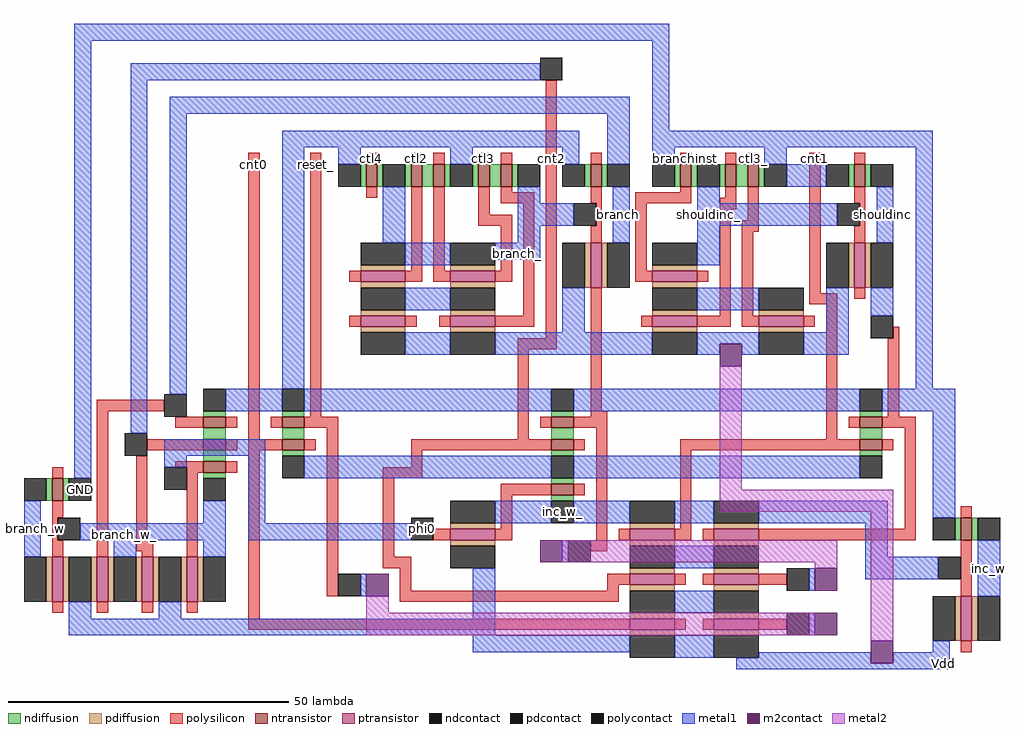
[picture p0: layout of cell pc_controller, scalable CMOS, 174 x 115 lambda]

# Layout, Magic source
magic
tech scmos
<< polysilicon >>
rect -60 -86 -48 -84
rect -68 -98 -66 -96
rect -68 -105 -66 -102
rect -68 -109 -67 -105
rect -68 -112 -66 -109
rect -60 -112 -58 -86
rect -46 -89 -41 -87
rect -37 -89 -35 -87
rect -33 -91 -31 -40
rect -22 -87 -20 -40
rect -12 -42 -10 -40
rect -4 -42 -2 -40
rect 0 -42 2 -40
rect 8 -42 10 -40
rect 12 -42 14 -40
rect -12 -48 -10 -46
rect -4 -61 -2 -46
rect -15 -63 -13 -61
rect -5 -63 -2 -61
rect 0 -61 2 -46
rect 8 -51 10 -46
rect 12 -47 14 -46
rect 12 -49 18 -47
rect 8 -53 14 -51
rect 12 -61 14 -53
rect 0 -63 3 -61
rect 11 -63 14 -61
rect 16 -69 18 -49
rect -15 -71 -13 -69
rect -5 -71 -3 -69
rect 1 -71 3 -69
rect 11 -71 18 -69
rect 20 -73 22 -27
rect 28 -42 30 -40
rect 44 -42 46 -40
rect 52 -42 54 -40
rect 56 -42 58 -40
rect 28 -49 30 -46
rect 44 -47 46 -46
rect 29 -53 30 -49
rect 28 -56 30 -53
rect 36 -49 46 -47
rect 52 -48 54 -46
rect 36 -61 38 -49
rect 51 -50 54 -48
rect 36 -63 39 -61
rect 47 -63 49 -61
rect 15 -75 22 -73
rect -29 -89 -27 -87
rect -23 -89 -17 -87
rect -51 -93 -41 -91
rect -37 -93 -35 -91
rect -33 -93 -27 -91
rect -23 -93 -21 -91
rect -53 -109 -51 -94
rect -46 -96 -41 -95
rect -44 -97 -41 -96
rect -37 -97 -35 -95
rect -53 -111 -50 -109
rect -52 -112 -50 -111
rect -44 -112 -42 -97
rect -68 -122 -66 -120
rect -60 -122 -58 -120
rect -52 -122 -50 -120
rect -44 -122 -42 -120
rect -33 -123 -31 -93
rect -19 -119 -17 -89
rect 15 -91 17 -75
rect 28 -86 30 -64
rect 51 -69 53 -50
rect 56 -52 58 -46
rect 37 -71 39 -69
rect 47 -71 53 -69
rect 55 -54 58 -52
rect 55 -69 57 -54
rect 67 -65 69 -40
rect 75 -42 77 -40
rect 75 -49 77 -46
rect 76 -53 77 -49
rect 75 -56 77 -53
rect 67 -67 72 -65
rect 75 -66 77 -64
rect 55 -71 58 -69
rect 66 -71 68 -69
rect 28 -87 31 -86
rect 19 -89 21 -87
rect 25 -89 31 -87
rect -4 -93 21 -91
rect 25 -93 27 -91
rect -4 -96 -2 -93
rect -9 -98 -2 -96
rect -9 -112 -7 -98
rect 12 -101 21 -99
rect 25 -101 27 -99
rect 12 -107 14 -101
rect 0 -109 3 -107
rect 11 -109 14 -107
rect 29 -109 31 -89
rect 70 -91 72 -67
rect 82 -73 83 -71
rect 81 -87 83 -73
rect 74 -89 76 -87
rect 80 -89 86 -87
rect 44 -93 76 -91
rect 80 -93 82 -91
rect 44 -107 46 -93
rect 84 -107 86 -89
rect 33 -109 35 -107
rect 43 -109 46 -107
rect 48 -109 50 -107
rect 58 -109 86 -107
rect -9 -114 -4 -112
rect 28 -111 31 -109
rect -6 -118 -4 -114
rect 31 -117 35 -115
rect 43 -117 45 -115
rect 48 -117 50 -115
rect 58 -117 63 -115
rect 31 -118 33 -117
rect -6 -120 33 -118
rect -33 -125 35 -123
rect 43 -125 45 -123
rect 48 -125 50 -123
rect 58 -125 63 -123
<< ndiffusion >>
rect -69 -102 -68 -98
rect -66 -102 -65 -98
rect -41 -87 -37 -86
rect -41 -91 -37 -89
rect -27 -87 -23 -86
rect -13 -46 -12 -42
rect -10 -46 -9 -42
rect -5 -46 -4 -42
rect -2 -46 0 -42
rect 2 -46 3 -42
rect 7 -46 8 -42
rect 10 -46 12 -42
rect 14 -46 15 -42
rect 27 -46 28 -42
rect 30 -46 31 -42
rect 43 -46 44 -42
rect 46 -46 47 -42
rect 51 -46 52 -42
rect 54 -46 56 -42
rect 58 -46 59 -42
rect -27 -91 -23 -89
rect -41 -95 -37 -93
rect -41 -98 -37 -97
rect -27 -94 -23 -93
rect 21 -87 25 -86
rect 74 -46 75 -42
rect 77 -46 78 -42
rect 21 -91 25 -89
rect 21 -94 25 -93
rect 21 -99 25 -98
rect 21 -102 25 -101
rect 76 -87 80 -86
rect 76 -91 80 -89
rect 76 -94 80 -93
<< pdiffusion >>
rect -13 -61 -5 -60
rect 3 -61 11 -60
rect -13 -64 -5 -63
rect -13 -69 -5 -68
rect 3 -64 11 -63
rect 3 -69 11 -68
rect -13 -72 -5 -71
rect 3 -72 11 -71
rect 27 -64 28 -56
rect 30 -64 31 -56
rect 39 -61 47 -60
rect 39 -64 47 -63
rect -69 -120 -68 -112
rect -66 -120 -65 -112
rect -61 -120 -60 -112
rect -58 -120 -57 -112
rect -53 -120 -52 -112
rect -50 -120 -49 -112
rect -45 -120 -44 -112
rect -42 -120 -41 -112
rect 39 -69 47 -68
rect 74 -64 75 -56
rect 77 -64 78 -56
rect 58 -69 66 -68
rect 39 -72 47 -71
rect 58 -72 66 -71
rect 3 -107 11 -106
rect 35 -107 43 -106
rect 50 -107 58 -106
rect 3 -110 11 -109
rect 35 -110 43 -109
rect 35 -115 43 -114
rect 50 -110 58 -109
rect 50 -115 58 -114
rect 35 -118 43 -117
rect 35 -123 43 -122
rect 50 -118 58 -117
rect 50 -123 58 -122
rect 35 -126 43 -125
rect 50 -126 58 -125
<< metal1 >>
rect -64 -20 42 -17
rect -64 -98 -61 -20
rect -54 -27 19 -24
rect -54 -90 -51 -27
rect -47 -33 35 -30
rect -47 -83 -44 -33
rect -27 -39 26 -36
rect -27 -82 -23 -39
rect -17 -42 -13 -39
rect 3 -42 7 -39
rect 23 -42 26 -39
rect 31 -42 35 -33
rect 39 -36 42 -20
rect 39 -39 89 -36
rect 39 -42 43 -39
rect 59 -42 63 -39
rect 63 -46 70 -42
rect -9 -56 -5 -46
rect 15 -49 19 -46
rect 15 -53 25 -49
rect 15 -56 19 -53
rect 32 -56 35 -46
rect 47 -49 51 -46
rect 47 -53 72 -49
rect -5 -60 3 -56
rect 11 -59 19 -56
rect 47 -60 51 -53
rect 79 -56 82 -46
rect -5 -68 3 -64
rect 23 -72 27 -64
rect 47 -68 58 -64
rect 70 -72 74 -64
rect -5 -76 3 -72
rect 11 -76 39 -72
rect 47 -74 58 -72
rect 47 -76 51 -74
rect 55 -76 58 -74
rect 66 -76 74 -72
rect 78 -69 82 -64
rect 86 -82 89 -39
rect -37 -86 -27 -82
rect -23 -86 21 -82
rect 25 -86 76 -82
rect 80 -86 93 -82
rect -48 -94 -30 -91
rect -48 -96 -44 -94
rect -73 -112 -70 -102
rect -41 -106 -37 -102
rect -63 -109 -37 -106
rect -33 -106 -30 -94
rect -23 -98 21 -94
rect 25 -98 76 -94
rect -33 -109 -4 -106
rect 11 -106 21 -102
rect 25 -106 35 -102
rect 43 -106 50 -102
rect 58 -106 81 -102
rect 89 -105 93 -86
rect -57 -112 -53 -109
rect -41 -112 -37 -109
rect 23 -113 24 -109
rect 43 -114 50 -110
rect 77 -112 81 -106
rect -13 -119 -12 -115
rect -65 -123 -61 -120
rect -49 -123 -45 -120
rect 7 -123 11 -114
rect 67 -118 68 -114
rect 77 -116 90 -112
rect 97 -116 101 -112
rect 43 -122 50 -118
rect -65 -126 11 -123
rect 67 -126 68 -122
rect 7 -129 35 -126
rect 43 -130 50 -126
rect 58 -130 78 -129
rect 54 -131 78 -130
rect 89 -129 92 -127
rect 82 -131 92 -129
rect 54 -132 92 -131
<< metal2 >>
rect 51 -100 55 -78
rect 51 -104 82 -100
rect 23 -113 72 -109
rect 68 -114 72 -113
rect -12 -122 -8 -119
rect -12 -126 68 -122
rect 78 -127 82 -104
<< ntransistor >>
rect -68 -102 -66 -98
rect -41 -89 -37 -87
rect -12 -46 -10 -42
rect -4 -46 -2 -42
rect 0 -46 2 -42
rect 8 -46 10 -42
rect 12 -46 14 -42
rect 28 -46 30 -42
rect 44 -46 46 -42
rect 52 -46 54 -42
rect 56 -46 58 -42
rect -27 -89 -23 -87
rect -41 -93 -37 -91
rect -27 -93 -23 -91
rect -41 -97 -37 -95
rect 75 -46 77 -42
rect 21 -89 25 -87
rect 21 -93 25 -91
rect 21 -101 25 -99
rect 76 -89 80 -87
rect 76 -93 80 -91
<< ptransistor >>
rect -13 -63 -5 -61
rect 3 -63 11 -61
rect -13 -71 -5 -69
rect 3 -71 11 -69
rect 28 -64 30 -56
rect 39 -63 47 -61
rect -68 -120 -66 -112
rect -60 -120 -58 -112
rect -52 -120 -50 -112
rect -44 -120 -42 -112
rect 39 -71 47 -69
rect 75 -64 77 -56
rect 58 -71 66 -69
rect 3 -109 11 -107
rect 35 -109 43 -107
rect 50 -109 58 -107
rect 35 -117 43 -115
rect 50 -117 58 -115
rect 35 -125 43 -123
rect 50 -125 58 -123
<< polycontact >>
rect 19 -27 23 -23
rect -67 -109 -63 -105
rect -48 -87 -44 -83
rect -55 -94 -51 -90
rect 25 -53 29 -49
rect -48 -100 -44 -96
rect 72 -53 76 -49
rect -4 -109 0 -105
rect 78 -73 82 -69
rect 24 -113 28 -109
rect -17 -119 -13 -115
rect 63 -118 67 -114
rect 90 -116 94 -112
rect 63 -126 67 -122
<< ndcontact >>
rect -73 -102 -69 -98
rect -65 -102 -61 -98
rect -41 -86 -37 -82
rect -27 -86 -23 -82
rect -17 -46 -13 -42
rect -9 -46 -5 -42
rect 3 -46 7 -42
rect 15 -46 19 -42
rect 23 -46 27 -42
rect 31 -46 35 -42
rect 39 -46 43 -42
rect 47 -46 51 -42
rect 59 -46 63 -42
rect -41 -102 -37 -98
rect -27 -98 -23 -94
rect 21 -86 25 -82
rect 70 -46 74 -42
rect 78 -46 82 -42
rect 21 -98 25 -94
rect 21 -106 25 -102
rect 76 -86 80 -82
rect 76 -98 80 -94
<< pdcontact >>
rect -13 -60 -5 -56
rect 3 -60 11 -56
rect -13 -68 -5 -64
rect 3 -68 11 -64
rect -13 -76 -5 -72
rect 3 -76 11 -72
rect 23 -64 27 -56
rect 31 -64 35 -56
rect 39 -60 47 -56
rect -73 -120 -69 -112
rect -65 -120 -61 -112
rect -57 -120 -53 -112
rect -49 -120 -45 -112
rect -41 -120 -37 -112
rect 39 -68 47 -64
rect 58 -68 66 -64
rect 70 -64 74 -56
rect 78 -64 82 -56
rect 39 -76 47 -72
rect 58 -76 66 -72
rect 3 -106 11 -102
rect 35 -106 43 -102
rect 50 -106 58 -102
rect 3 -114 11 -110
rect 35 -114 43 -110
rect 50 -114 58 -110
rect 35 -122 43 -118
rect 50 -122 58 -118
rect 35 -130 43 -126
rect 50 -130 58 -126
<< m2contact >>
rect 51 -78 55 -74
rect 19 -113 23 -109
rect -12 -119 -8 -115
rect 68 -118 72 -114
rect 68 -126 72 -122
rect 78 -131 82 -127
use inverter  inverter_0
transform 1 0 94 0 -1 -98
box -5 5 7 31
<< labels >>
rlabel polysilicon -11 -41 -11 -41 5 ctl4
rlabel polysilicon -3 -41 -3 -41 5 ctl2
rlabel polysilicon 1 -41 1 -41 5 carry
rlabel polysilicon 9 -41 9 -41 5 ctl3
rlabel polysilicon 13 -41 13 -41 3 zero
rlabel metal1 15 -58 15 -58 1 branch_
rlabel metal1 33 -51 33 -51 7 branch
rlabel metal1 49 -51 49 -51 1 shouldinc_
rlabel metal1 80 -51 80 -51 7 shouldinc
rlabel polysilicon 45 -41 45 -41 5 branchinst
rlabel polysilicon 53 -41 53 -41 5 inputinst
rlabel polysilicon 57 -41 57 -41 5 ctl3_
rlabel polysilicon 21 -41 21 -41 5 cnt2
rlabel polysilicon 68 -41 68 -41 5 cnt1
rlabel polysilicon -32 -42 -32 -42 4 cnt0
rlabel polysilicon -21 -42 -21 -42 5 reset_
rlabel polycontact -2 -107 -2 -107 1 phi0
rlabel metal1 -55 -108 -55 -108 1 branch_w_
rlabel ndcontact 21 -106 25 -102 1 inc_w_
rlabel metal1 99 -114 99 -114 7 inc_w
rlabel metal1 -71 -107 -71 -107 3 branch_w
rlabel ndcontact -63 -100 -63 -100 1 GND
rlabel metal1 91 -131 91 -131 1 Vdd
<< end >>

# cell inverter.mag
magic
tech scmos
<< polysilicon >>
rect 0 29 2 31
rect 0 11 2 21
rect 0 5 2 7
<< ndiffusion >>
rect -1 7 0 11
rect 2 7 3 11
<< pdiffusion >>
rect -1 21 0 29
rect 2 21 3 29
<< metal1 >>
rect 3 11 7 21
<< ntransistor >>
rect 0 7 2 11
<< ptransistor >>
rect 0 21 2 29
<< ndcontact >>
rect -5 7 -1 11
rect 3 7 7 11
<< pdcontact >>
rect -5 21 -1 29
rect 3 21 7 29
<< labels >>
rlabel metal1 5 16 5 16 7 out
<< end >>
